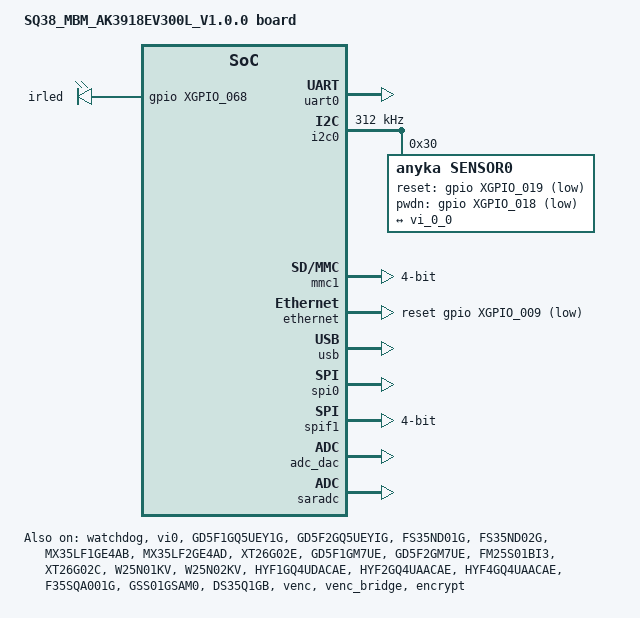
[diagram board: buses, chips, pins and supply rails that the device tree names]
/*
 * Anycloud39EV300L dev board dts
 *
 * Copyright (C) 2020 Anyka(Guangzhou) Microelectronics Technology Co., Ltd.
 *
 * This program is free software; you can redistribute it and/or modify
 * it under the terms of the GNU General Public License as published by
 * the Free Software Foundation; either version 2 of the License, or
 * (at your option) any later version.
 *
 * This program is distributed in the hope that it will be useful,
 * but WITHOUT ANY WARRANTY; without even the implied warranty of
 * MERCHANTABILITY or FITNESS FOR A PARTICULAR PURPOSE.  See the
 * GNU General Public License for more details.
 */

#include "anycloud_ak3918ev300l.dtsi"
#include "anycloud_norflash.dtsi"
#include "anycloud_nandflash.dtsi"

/ {
    compatible = "anyka,ak3918ev300l";
    model = "SQ38_MBM_AK3918EV300L_V1.0.0 board";
    version = "V1.0.00";
};

&gpio {
    /*
    * "anyka,function": func index, please refer to dt-bindings/pinctrl/ak3918ev300l_pinctrl.h
    * "anyka,pull": configuration of the pins
    * bit[7:0]: pull up/down configuration
    *     bit[0]: pull up or pull down selection, 1 means select pull down, 0 means select pull up
    *     bit[4]: pull up or pull down enable, 1 means enable pull up&down function, 0 means disable fuction
    * !!! Notice that not all pin support pull up and pull down. Please refer to the programer's guide.
    * bit[11:8]: driver strength configuration.
    *     bit[9:8] drive strength.
    * bit[12:15] gpio direction
    *     bit[12]: direction. 0 is output, 1 is input
    *     bit[15]: enable direction. 1 is enable
    * bit[19:16]: input enable configuration
    *     bit[16]: 1 means enable input, 0 means disable input.
    * bit[20-23]: gpio output level
    *     bit[20]: 0 is low level, 1 is high level
    *     bit[23]: enable gpio output level. 1 is enable
    * bit[31:24]: pin slew rate configuration
    *     bit[24]: 1 means enable slew rate, 0 means disable slew rate.
    * !!! Notice OTHER bits which not mentioned please set to 0.
    */

    dvp0_12bits_pins: dvp0_12bits_pins {
        anyka,pins = <XGPIO_022
                         XGPIO_100
                         XGPIO_009
                         XGPIO_010
                         XGPIO_017
                         XGPIO_018
                         XGPIO_019
                         XGPIO_020
                         XGPIO_023
                         XGPIO_021
                         XGPIO_022
                         XGPIO_099
                         XGPIO_102
                         XGPIO_101
                         XGPIO_103
                         XGPIO_104>;
        anyka,function = <XGPIO_022_FUNC_CSI0_SCLK
                            XGPIO_100_FUNC_CSI_CLK
                            XGPIO_009_FUNC_CSI_HSYNC
                            XGPIO_010_FUNC_CSI_VSYNC
                            XGPIO_017_FUNC_CSI_D0
                            XGPIO_018_FUNC_CSI_D1
                            XGPIO_019_FUNC_CSI_D2
                            XGPIO_020_FUNC_CSI_D3
                            XGPIO_023_FUNC_CSI_D4
                            XGPIO_021_FUNC_CSI_D5
                            XGPIO_022_FUNC_CSI_D6
                            XGPIO_099_FUNC_CSI_D7
                            XGPIO_102_FUNC_CSI_D8
                            XGPIO_101_FUNC_CSI_D9
                            XGPIO_103_FUNC_CSI_D10
                            XGPIO_104_FUNC_CSI_D11>;
        anyka,pull = <0x00010010>;
    };

    dvp0_10bits_pins: dvp0_10bits_pins {
        anyka,pins = <XGPIO_100		//pclk
                         XGPIO_009	//hsync
                         XGPIO_010	//vsync
                         XGPIO_019	//d2
                         XGPIO_020	//d3
                         XGPIO_023	//d4
                         XGPIO_021	//d5
                         XGPIO_022	//d6
                         XGPIO_099	//d7
                         XGPIO_102	//d8
                         XGPIO_101	//d9
                         XGPIO_103	//d10
                         XGPIO_104>;//d11
        anyka,function = <XGPIO_100_FUNC_CSI_CLK
                            XGPIO_009_FUNC_CSI_HSYNC
                            XGPIO_010_FUNC_CSI_VSYNC
                            XGPIO_019_FUNC_CSI_D2
                            XGPIO_020_FUNC_CSI_D3
                            XGPIO_023_FUNC_CSI_D4
                            XGPIO_021_FUNC_CSI_D5
                            XGPIO_022_FUNC_CSI_D6
                            XGPIO_099_FUNC_CSI_D7
                            XGPIO_102_FUNC_CSI_D8
                            XGPIO_101_FUNC_CSI_D9
                            XGPIO_103_FUNC_CSI_D10
                            XGPIO_104_FUNC_CSI_D11>;
        anyka,pull = <0x00010010>;
    };

    dvp0_8bits_pins: dvp0_8bits_pins {
        anyka,pins = <XGPIO_022
                         XGPIO_100
                         XGPIO_009
                         XGPIO_010
                         XGPIO_017
                         XGPIO_018
                         XGPIO_019
                         XGPIO_020
                         XGPIO_023
                         XGPIO_021
                         XGPIO_022
                         XGPIO_099>;
        anyka,function = <XGPIO_022_FUNC_CSI0_SCLK
                            XGPIO_100_FUNC_CSI_CLK
                            XGPIO_009_FUNC_CSI_HSYNC
                            XGPIO_010_FUNC_CSI_VSYNC
                            XGPIO_017_FUNC_CSI_D0
                            XGPIO_018_FUNC_CSI_D1
                            XGPIO_019_FUNC_CSI_D2
                            XGPIO_020_FUNC_CSI_D3
                            XGPIO_023_FUNC_CSI_D4
                            XGPIO_021_FUNC_CSI_D5
                            XGPIO_022_FUNC_CSI_D6
                            XGPIO_099_FUNC_CSI_D7>;
        anyka,pull = <0x00010010>;
    };

    mipi0_3lane_pins: mipi0_3lane_pins {
        anyka,pins = <XGPIO_099
                        XGPIO_100
                        XGPIO_101
                        XGPIO_102
                        XGPIO_103
                        XGPIO_104>;
        anyka,function = <XGPIO_099_FUNC_MIPI_RX_L0P
                            XGPIO_100_FUNC_MIPI_RX_L0N
                            XGPIO_101_FUNC_MIPI_RX_L1P
                            XGPIO_102_FUNC_MIPI_RX_L1N
                            XGPIO_103_FUNC_MIPI_RX_L2P
                            XGPIO_104_FUNC_MIPI_RX_L2N>;
        anyka,pull = <0x00010010>;
    };

    csi0_sclk_pin: csi0_sclk_pin {
        anyka,pins = <XGPIO_022>;
        anyka,function = <XGPIO_022_FUNC_CSI0_SCLK>;
        anyka,pull = <0x00010010>;
    };

    i2c0_pins: i2c0_pins {
        anyka,pins = <XGPIO_020 XGPIO_021>;
        anyka,function = <XGPIO_020_FUNC_TWI0_SDA XGPIO_021_FUNC_TWI0_SCL>;
        anyka,pull = <0x0010010>;
    };

    infrared_led_pins: infrared_led_pins {
        anyka,pins = <XGPIO_068>;
        anyka,function = <XGPIO_068_FUNC_GPIO68>;
        anyka,pull = <0x0000010>;
    };

    mci1_pins: mci1_pins {
        anyka,pins = <XGPIO_036
                        XGPIO_035
                        XGPIO_034
                        XGPIO_033
                        XGPIO_032
                        XGPIO_031>;
        anyka,function = <XGPIO_036_FUNC_SDIO0_DATA1
                            XGPIO_035_FUNC_SDIO0_DATA0
                            XGPIO_034_FUNC_SDIO0_MCLK
                            XGPIO_033_FUNC_SDIO0_CMD
                            XGPIO_032_FUNC_SDIO0_DATA3
                            XGPIO_031_FUNC_SDIO0_DATA2>;
        anyka,pull = <0x0010010>;
    };

    /* 
     *  When using DATA3 as plugin and plugoff detect:
     *  1. Set XGPIO_032_FUNC_SDIO0_DATA3 pull up disable and pull down disable
     *  2. Using PULLDOWN RESISTANCE on PCB, for example, 510   KΩ.
    */      
    mci1_pins_d3_detect_mode: mci1_pins_d3_detect_mode {
        anyka,pins = <XGPIO_036
                        XGPIO_035
                        XGPIO_034
                        XGPIO_033
                        XGPIO_032
                        XGPIO_031>;
        anyka,function = <XGPIO_036_FUNC_SDIO0_DATA1
                            XGPIO_035_FUNC_SDIO0_DATA0
                            XGPIO_034_FUNC_SDIO0_MCLK
                            XGPIO_033_FUNC_SDIO0_CMD
                            XGPIO_032_FUNC_SDIO0_DATA3
                            XGPIO_031_FUNC_SDIO0_DATA2>;
        anyka,pull = <  0x0010010 
                        0x0010010
                        0x0010010
                        0x0010010
                        0x0010001  /* disable pull down and pull up */
                        0x0010010 >;
    };

    mci1_idle_pins: mci1_idle_pins {
        anyka,pins = <XGPIO_036
                        XGPIO_035
                        XGPIO_034
                        XGPIO_033
                        XGPIO_032
                        XGPIO_031>;
        anyka,function = <XGPIO_036_FUNC_GPIO36
                            XGPIO_035_FUNC_GPIO35
                            XGPIO_034_FUNC_GPIO34
                            XGPIO_033_FUNC_GPIO33
                            XGPIO_032_FUNC_GPIO32
                            XGPIO_031_FUNC_GPIO31>;
        anyka,pull = <0x0>;
    };

    tf_det_pins: tf_det_pins {
        anyka,pins = <XGPIO_067>;
        anyka,function = <XGPIO_067_FUNC_GPIO67>;
        anyka,pull = <0x0010010>;
    };

    tf_en_pins: tf_en_pins {
        anyka,pins = <XGPIO_037>;
        anyka,function = <XGPIO_037_FUNC_GPIO37>;
        anyka,pull = <0x0010010>;
    };

    speaker_en_pins: speaker_en_pins {
        anyka,pins = <XGPIO_069>;
        anyka,function = <XGPIO_069_FUNC_GPIO69>;
        anyka,pull = <0x00808000>;
    };

    saradc_pins: saradc_pins {
        anyka,pins = <XGPIO_070>;
        anyka,function = <XGPIO_070_FUNC_AIN1>;
        anyka,pull = <0x0000000>;
    };
};

&uart0 {
    pinctrl-names = "default";
    pinctrl-0 = <&uart0_pins>;
    status = "okay";
};

&watchdog {
    status = "okay";
};

&vi0{
    pinctrl-names = "dvp0_12bits", "dvp0_10bits", "dvp0_8bits",
	/*
        "mipi0_2lane", "mipi0_1lane",
		*/
        "csi0_sclk";
    pinctrl-0 = <&dvp0_12bits_pins>;
    pinctrl-1 = <&dvp0_10bits_pins>;
    pinctrl-2 = <&dvp0_8bits_pins>;
    pinctrl-3 = <&csi0_sclk_pin>;

	/*
    pinctrl-4 = <&mipi0_2lane_pins>;
    pinctrl-5 = <&mipi0_1lane_pins>;
	*/
    status = "okay";

	csi_mipi_lane_swap = <
		SENSOR_D0	//L0
		SENSOR_C0	//L1
		SENSOR_D1	//L2
		>;//MIPI_RX_L0~2.
	csi_mipi_dndp_swap = <
		MIPI_DNDP_NOSWAP	//L0
		MIPI_DNDP_NOSWAP	//L1
		MIPI_DNDP_NOSWAP	//L2
	>;//MIPI_RX_L0~2. 0: noswap; others: swap

	port@0 {
		#address-cells = <1>;
		#size-cells = <0>;

		vi_0_0: endpoint@0 {
			reg = <0>;
			remote-endpoint = <&sensor0_0>;
		};
	};
};

&i2c0 {
    pinctrl-names = "default";
    pinctrl-0 = <&i2c0_pins>;
    
    clock-frequency = <312000>;
    status = "okay";
	#address-cells = <1>;
	#size-cells = <0>;
    
	sensor0: camera@0x30{
		compatible = "anyka,sensor0";
		reg = <0x30>;

		/*0xffff means the gpio is invalid*/
		reset-gpio = <&gpio XGPIO_019 1>;
		pwdn-gpio = <&gpio XGPIO_018 1>;

		port {
			sensor0_0: endpoint@0 {
				remote-endpoint = <&vi_0_0>;
			};
		};
	};
};

&leds {
    pinctrl-names = "default";
    pinctrl-0 = <&infrared_led_pins>;
    status = "okay";

    ir_led {
        label = "irled";
        gpios = <&gpio XGPIO_068 GPIO_ACTIVE_HIGH>;
    };
};

/* mmc1 card detect using detect-gpio or detect-gpios */
&mmc1 {
    bus-width = <0x4>;
    max-frequency = <25000000>;
    detect-gpio = <&gpio XGPIO_067 1>; 
    cap-sd-highspeed;
    pinctrl-names = "default","idle";
    pinctrl-0 = <&mci1_pins>,<&tf_en_pins>,<&tf_det_pins>;
    pinctrl-1 = <&mci1_idle_pins>; 
    power-pins = <&gpio XGPIO_037 1>;
    status = "okay";
};

/* mmc1 card detect using cd_clk */
/*
&mmc1 {
    bus-width = <0x4>;
    max-frequency = <25000000>;
    cd_clk;
    cap-sd-highspeed;
    pinctrl-names = "default","idle";
    pinctrl-0 = <&mci1_pins>,<&tf_en_pins>;
    pinctrl-1 = <&mci1_idle_pins>; 
    power-pins = <&gpio XGPIO_050 1>; 
    status = "okay"; 
};
*/

/* mmc1 card detect using cd_d3 */
/*
&mmc1 {
    bus-width = <0x4>;
    max-frequency = <25000000>;
    cd_d3;
    cap-sd-highspeed;
    pinctrl-names = "default","idle";
    pinctrl-0 = <&mci1_pins_d3_detect_mode>,<&tf_en_pins>;
    pinctrl-1 = <&mci1_idle_pins>; 
    power-pins = <&gpio XGPIO_050 1>; 
    status = "okay"; 
};
*/

&ethernet {
    pinctrl-names = "default";
    pinctrl-0 = <&ethernet_rmii_pins &ethernet_rst_pins>;
    reset-gpios = <&gpio XGPIO_009 1>;
	phy-address = <1>;
    status = "okay";
};

&usb {
    status = "okay";
};

&spi0 {
    pinctrl-names = "default";
    pinctrl-0 = <&spiflash_pins>;
    spi-bus-frequency = <66000000>;
    /*
     * cap-spi-highspeed;
     * if defined, means high speed controller(Maximum 100M/s);
     * if not, means normal speed controller(below 50M/s)
     */
    cap-spi-highspeed;
    status = "okay";
};

&spif1 {
    /* spi flash data bus width:
    ** 1 means 1 wire mode.
    ** 2 means 2 wire mode
    ** 4 means 4 wire mode.
    ** default: 4 wire mode.
    **/
    bus-width = <4>;
    status = "okay";
};

&GD5F1GQ5UEY1G{
    status = "okay";
};

&GD5F2GQ5UEYIG{
    status = "okay";
};

&FS35ND01G{
    status = "okay";
};

&FS35ND02G{
    status = "okay";
};

&MX35LF1GE4AB{
    status = "okay";
};

&MX35LF2GE4AD{
    status = "okay";
};

&XT26G02E{
    status = "okay";
};

&GD5F1GM7UE{
    status = "okay";
};

&GD5F2GM7UE{
    status = "okay";
};

&FM25S01BI3{
    status = "okay";
};

&XT26G02C{
  status = "okay";
};

&W25N01KV{
  status = "okay";
};

&W25N02KV{
  status = "okay";
};

&HYF1GQ4UDACAE{
  status = "okay";
};

&HYF2GQ4UAACAE{
  status = "okay";
};

&HYF4GQ4UAACAE{
  status = "okay";
};

&F35SQA001G{
    status = "okay";
};

&GSS01GSAM0{
    status = "okay";
};

&DS35Q1GB{
    status = "okay";
};

&adc_dac {
    pinctrl-names = "default";
    pinctrl-0 = <&speaker_en_pins>;
    speak-gpios = <&gpio XGPIO_069 1>;
    pd-hpvcm = <1>;
    /*
    * The level of speak-gpios votage for power on audio: 0=low, 1=high
    */
    speak-gpios-en = <1>;
    status = "okay";

    dev0 {
        snd-dev = <SND_CARD_DAC_PLAYBACK>;
        snd-type = <AK_PCM_DEV_PLAYBACK>;
    };

    dev1 {
        snd-dev = <SND_CARD_ADC_CAPTURE>;
        snd-type = <AK_PCM_DEV_CAPTURE>;
    };

    dev2 {
        snd-dev = <SND_CARD_DAC_LOOPBACK>;
        snd-type = <AK_PCM_DEV_LOOPBACK>;
    };
};

&venc {
    status = "okay";
};

&venc_bridge{
     status = "okay";
};

&saradc {
    pinctrl-names = "default";
    pinctrl-0 = <&saradc_pins>;

    /*
	 * SAR ADC VREF selection
     * 	0:To select HPVDD 3.3V as VREF for SAR ADC.
     * 	1:To select 3.0V generated from DDR as VREF for SAR ADC.
     */
    vref-select = <0>;

    /*
     * Sampling number
     * 	Read the sampling data for N times and then calculate the average value.
     * 	N ranges from 1 to 7.
     */
    sampling-num = <3>;
    status = "okay";
};

&encrypt{
    status = "okay"; 
};
